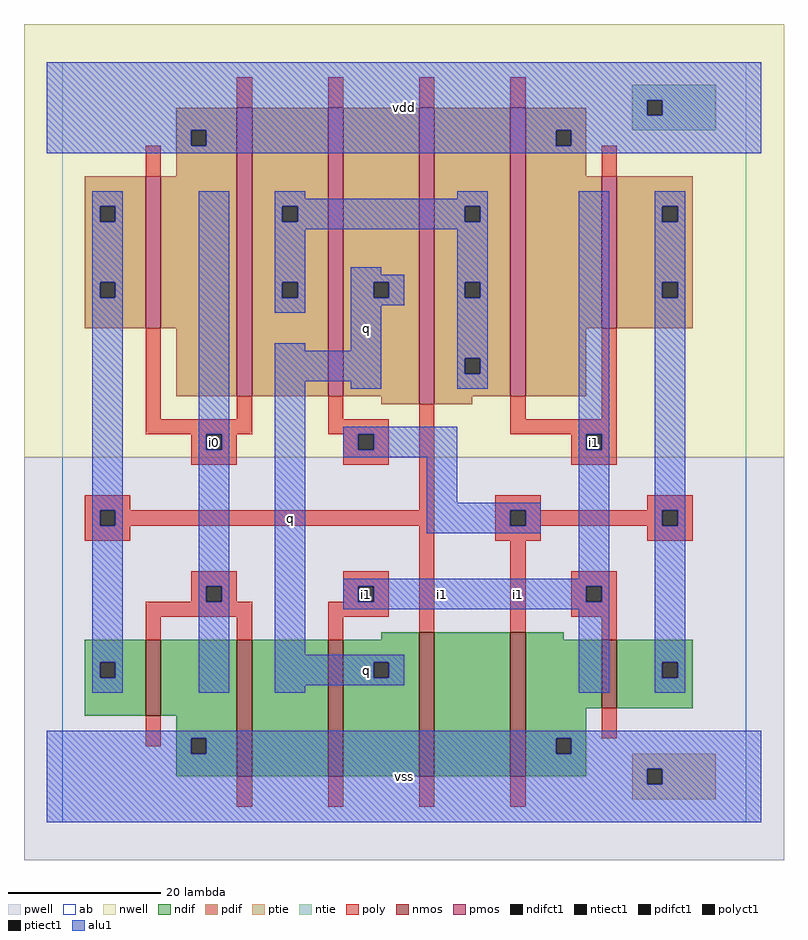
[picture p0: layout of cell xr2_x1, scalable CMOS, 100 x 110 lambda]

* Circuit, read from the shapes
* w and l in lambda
.subckt xr2_x1 i0 i1 q vdd vss
M1 vss i0 n1 vss nfet w=10 l=2
M2 n2 i0 vss vss nfet w=18 l=2
M3 q i1 n2 vss nfet w=18 l=2
M4 n3 n1 q vss nfet w=19 l=2
M5 vss n4 n3 vss nfet w=19 l=2
M6 n4 i1 vss vss nfet w=9 l=2
M7 vdd i0 n1 vdd pfet w=20 l=2
M8 n5 i0 vdd vdd pfet w=38 l=2
M9 q n4 n5 vdd pfet w=38 l=2
M10 n5 n1 q vdd pfet w=39 l=2
M11 vdd i1 n5 vdd pfet w=38 l=2
M12 n4 i1 vdd vdd pfet w=20 l=2
.ends

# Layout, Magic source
magic
tech scmos
<< ab >>
rect 0 0 90 100
<< nwell >>
rect -5 48 95 105
<< pwell >>
rect -5 -5 95 48
<< poly >>
rect 23 94 25 98
rect 35 94 37 98
rect 47 94 49 98
rect 59 94 61 98
rect 11 85 13 89
rect 11 53 13 65
rect 23 53 25 56
rect 11 51 25 53
rect 35 53 37 56
rect 71 85 73 89
rect 35 51 43 53
rect 17 49 19 51
rect 21 49 23 51
rect 17 47 23 49
rect 37 49 39 51
rect 41 49 43 51
rect 37 47 43 49
rect 3 41 9 43
rect 47 41 49 55
rect 59 53 61 56
rect 71 53 73 65
rect 59 51 73 53
rect 67 49 69 51
rect 71 49 73 51
rect 67 47 73 49
rect 3 39 5 41
rect 7 39 49 41
rect 3 37 9 39
rect 17 31 23 33
rect 17 29 19 31
rect 21 29 23 31
rect 37 31 43 33
rect 37 29 39 31
rect 41 29 43 31
rect 11 27 25 29
rect 11 24 13 27
rect 23 24 25 27
rect 35 27 43 29
rect 35 24 37 27
rect 47 25 49 39
rect 57 41 63 43
rect 77 41 83 43
rect 57 39 59 41
rect 61 39 79 41
rect 81 39 83 41
rect 57 37 63 39
rect 77 37 83 39
rect 59 25 61 37
rect 67 31 73 33
rect 67 29 69 31
rect 71 29 73 31
rect 67 27 73 29
rect 11 10 13 14
rect 71 24 73 27
rect 71 11 73 15
rect 23 2 25 6
rect 35 2 37 6
rect 47 2 49 6
rect 59 2 61 6
<< ndif >>
rect 42 24 47 25
rect 3 21 11 24
rect 3 19 5 21
rect 7 19 11 21
rect 3 14 11 19
rect 13 14 23 24
rect 15 11 23 14
rect 15 9 17 11
rect 19 9 23 11
rect 15 6 23 9
rect 25 6 35 24
rect 37 21 47 24
rect 37 19 41 21
rect 43 19 47 21
rect 37 6 47 19
rect 49 6 59 25
rect 61 24 66 25
rect 61 15 71 24
rect 73 21 83 24
rect 73 19 79 21
rect 81 19 83 21
rect 73 15 83 19
rect 61 11 69 15
rect 61 9 65 11
rect 67 9 69 11
rect 61 6 69 9
<< pdif >>
rect 15 91 23 94
rect 15 89 17 91
rect 19 89 23 91
rect 15 85 23 89
rect 3 81 11 85
rect 3 79 5 81
rect 7 79 11 81
rect 3 71 11 79
rect 3 69 5 71
rect 7 69 11 71
rect 3 65 11 69
rect 13 65 23 85
rect 15 56 23 65
rect 25 81 35 94
rect 25 79 29 81
rect 31 79 35 81
rect 25 71 35 79
rect 25 69 29 71
rect 31 69 35 71
rect 25 56 35 69
rect 37 71 47 94
rect 37 69 41 71
rect 43 69 47 71
rect 37 56 47 69
rect 42 55 47 56
rect 49 81 59 94
rect 49 79 53 81
rect 55 79 59 81
rect 49 71 59 79
rect 49 69 53 71
rect 55 69 59 71
rect 49 61 59 69
rect 49 59 53 61
rect 55 59 59 61
rect 49 56 59 59
rect 61 91 69 94
rect 61 89 65 91
rect 67 89 69 91
rect 61 85 69 89
rect 61 65 71 85
rect 73 81 83 85
rect 73 79 79 81
rect 81 79 83 81
rect 73 71 83 79
rect 73 69 79 71
rect 81 69 83 71
rect 73 65 83 69
rect 61 56 69 65
rect 49 55 54 56
<< alu1 >>
rect -2 95 92 100
rect -2 93 77 95
rect 79 93 92 95
rect -2 91 92 93
rect -2 89 17 91
rect 19 89 65 91
rect 67 89 92 91
rect -2 88 92 89
rect 4 81 8 83
rect 4 79 5 81
rect 7 79 8 81
rect 4 71 8 79
rect 4 69 5 71
rect 7 69 8 71
rect 4 41 8 69
rect 4 39 5 41
rect 7 39 8 41
rect 4 21 8 39
rect 4 19 5 21
rect 7 19 8 21
rect 4 17 8 19
rect 18 51 22 83
rect 28 82 32 83
rect 52 82 56 83
rect 28 81 56 82
rect 28 79 29 81
rect 31 79 53 81
rect 55 79 56 81
rect 28 78 56 79
rect 28 71 32 78
rect 28 69 29 71
rect 31 69 32 71
rect 28 67 32 69
rect 38 72 42 73
rect 38 71 45 72
rect 38 69 41 71
rect 43 69 45 71
rect 38 68 45 69
rect 52 71 56 78
rect 52 69 53 71
rect 55 69 56 71
rect 18 49 19 51
rect 21 49 22 51
rect 18 31 22 49
rect 18 29 19 31
rect 21 29 22 31
rect 18 17 22 29
rect 28 62 32 63
rect 38 62 42 68
rect 28 58 42 62
rect 28 22 32 58
rect 38 57 42 58
rect 52 61 56 69
rect 52 59 53 61
rect 55 59 56 61
rect 52 57 56 59
rect 37 51 52 52
rect 37 49 39 51
rect 41 49 52 51
rect 37 48 52 49
rect 48 42 52 48
rect 68 51 72 83
rect 68 49 69 51
rect 71 49 72 51
rect 48 41 63 42
rect 48 39 59 41
rect 61 39 63 41
rect 48 38 63 39
rect 68 32 72 49
rect 37 31 72 32
rect 37 29 39 31
rect 41 29 69 31
rect 71 29 72 31
rect 37 28 72 29
rect 28 21 45 22
rect 28 19 41 21
rect 43 19 45 21
rect 28 18 45 19
rect 28 17 32 18
rect 68 17 72 28
rect 78 81 82 83
rect 78 79 79 81
rect 81 79 82 81
rect 78 71 82 79
rect 78 69 79 71
rect 81 69 82 71
rect 78 41 82 69
rect 78 39 79 41
rect 81 39 82 41
rect 78 21 82 39
rect 78 19 79 21
rect 81 19 82 21
rect 78 17 82 19
rect -2 11 92 12
rect -2 9 17 11
rect 19 9 65 11
rect 67 9 92 11
rect -2 7 92 9
rect -2 5 77 7
rect 79 5 92 7
rect -2 0 92 5
<< ptie >>
rect 75 7 86 9
rect 75 5 77 7
rect 79 5 86 7
rect 75 3 86 5
<< ntie >>
rect 75 95 86 97
rect 75 93 77 95
rect 79 93 86 95
rect 75 91 86 93
<< nmos >>
rect 11 14 13 24
rect 23 6 25 24
rect 35 6 37 24
rect 47 6 49 25
rect 59 6 61 25
rect 71 15 73 24
<< pmos >>
rect 11 65 13 85
rect 23 56 25 94
rect 35 56 37 94
rect 47 55 49 94
rect 59 56 61 94
rect 71 65 73 85
<< polyct1 >>
rect 19 49 21 51
rect 39 49 41 51
rect 69 49 71 51
rect 5 39 7 41
rect 19 29 21 31
rect 39 29 41 31
rect 59 39 61 41
rect 79 39 81 41
rect 69 29 71 31
<< ndifct1 >>
rect 5 19 7 21
rect 17 9 19 11
rect 41 19 43 21
rect 79 19 81 21
rect 65 9 67 11
<< ntiect1 >>
rect 77 93 79 95
<< ptiect1 >>
rect 77 5 79 7
<< pdifct1 >>
rect 17 89 19 91
rect 5 79 7 81
rect 5 69 7 71
rect 29 79 31 81
rect 29 69 31 71
rect 41 69 43 71
rect 53 79 55 81
rect 53 69 55 71
rect 53 59 55 61
rect 65 89 67 91
rect 79 79 81 81
rect 79 69 81 71
<< labels >>
rlabel alu1 40 20 40 20 6 q
rlabel alu1 30 40 30 40 6 q
rlabel polyct1 40 30 40 30 6 i1
rlabel polyct1 20 50 20 50 6 i0
rlabel alu1 40 65 40 65 6 q
rlabel alu1 45 6 45 6 6 vss
rlabel alu1 50 30 50 30 6 i1
rlabel alu1 60 30 60 30 6 i1
rlabel alu1 45 94 45 94 6 vdd
rlabel polyct1 70 50 70 50 6 i1
<< end >>
